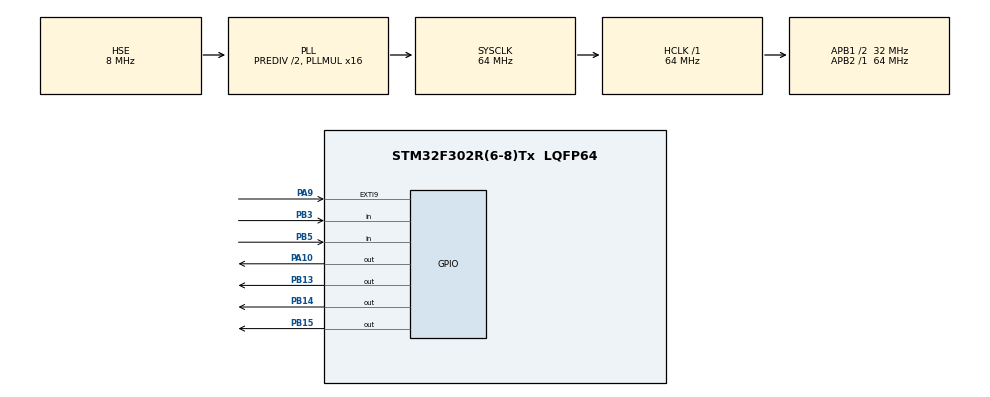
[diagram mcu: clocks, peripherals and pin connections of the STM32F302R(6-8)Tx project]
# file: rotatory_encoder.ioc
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FREERTOS.Tasks01=defaultTask,0,128,StartDefaultTask,Default,NULL,Dynamic,NULL,NULL
FREERTOS.configUSE_NEWLIB_REENTRANT=1
Mcu.Family=STM32F3
Mcu.Name=STM32F302R(6-8)Tx
Mcu.Package=LQFP64
NVIC.PriorityGroup=NVIC_PRIORITYGROUP_4
NVIC.TIM6_DAC_IRQn=true\:15\:0\:false\:false\:true\:false\:false\:true\:true
NVIC.TimeBase=TIM6_DAC_IRQn
NVIC.TimeBaseIP=TIM6
PA10.Signal=GPIO_Output
PA13.Mode=Serial_Wire
PA13.Signal=SYS_JTMS-SWDIO
PA14.Mode=Serial_Wire
PA14.Signal=SYS_JTCK-SWCLK
PA9.Signal=GPXTI9
PB13.Signal=GPIO_Output
PB14.Signal=GPIO_Output
PB15.Signal=GPIO_Output
PB3.Signal=GPIO_Input
PB5.Signal=GPIO_Input
PF0-OSC_IN.Mode=HSE-External-Oscillator
PF0-OSC_IN.Signal=RCC_OSC_IN
PF1-OSC_OUT.Mode=HSE-External-Oscillator
PF1-OSC_OUT.Signal=RCC_OSC_OUT
ProjectManager.HeapSize=0x200
ProjectManager.StackSize=0x400
ProjectManager.TargetToolchain=STM32CubeIDE
RCC.AHBFreq_Value=64000000
RCC.APB1CLKDivider=RCC_HCLK_DIV2
RCC.APB1Freq_Value=32000000
RCC.APB1TimFreq_Value=64000000
RCC.APB2Freq_Value=64000000
RCC.APB2TimFreq_Value=64000000
RCC.CortexFreq_Value=64000000
RCC.HCLKFreq_Value=64000000
RCC.HSE_VALUE=8000000
RCC.HSI_VALUE=8000000
RCC.PLLM=8
RCC.PLLMUL=RCC_PLL_MUL16
RCC.PLLN=336
RCC.PLLP=RCC_PLLP_DIV4
RCC.PLLQ=7
RCC.PLLSourceVirtual=RCC_PLLSOURCE_HSE
RCC.RCC_PLLsource_Clock_Source_FROM_HSE=RCC_HSE_PREDIV_DIV2
RCC.SYSCLKFreq_VALUE=64000000
RCC.SYSCLKSourceVirtual=RCC_SYSCLKSOURCE_PLLCLK
RCC.USBFreq_Value=64000000
VP_FREERTOS_VS_CMSIS_V1.Mode=CMSIS_V1
VP_SYS_VS_tim6.Mode=TIM6
board=NUCLEO-F302R8

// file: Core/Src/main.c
/* USER CODE BEGIN Header */
/**
  ******************************************************************************
  * @file           : main.c
  * @brief          : Main program body
  ******************************************************************************
  * @attention
  *
  * Copyright (c) 2024 STMicroelectronics.
  * All rights reserved.
  *
  * This software is licensed under terms that can be found in the LICENSE file
  * in the root directory of this software component.
  * If no LICENSE file comes with this software, it is provided AS-IS.
  *
  ******************************************************************************
  */
/* USER CODE END Header */
#include "main.h"
//#include "cmsis_os.h"

/* USER CODE BEGIN Includes */
#include "FreeRTOS.h"
#include "task.h"
#include "timers.h"
#include "queue.h"
#include "semphr.h"
#include "event_groups.h"

#include "stdlib.h"
#include "string.h"
/* USER CODE END Includes */

//osThreadId defaultTaskHandle;

void SystemClock_Config(void);
static void MX_GPIO_Init(void);
//void StartDefaultTask(void const * argument);

/* USER CODE BEGIN 0 */
TaskHandle_t encoder_handle;
void encoder_task(void *pvParameters);

TaskHandle_t led_handler;
void led_task(void *pvParamters);

volatile uint8_t count=0;
volatile uint8_t pin_last=0;
volatile uint8_t aval=0;
volatile uint8_t flag=0;
volatile uint8_t button;
/* USER CODE END 0 */

int main(void)
{

  /* MCU Configuration--------------------------------------------------------*/

  /* Reset of all peripherals, Initializes the Flash interface and the Systick. */
  HAL_Init();

  /* Configure the system clock */
  SystemClock_Config();

  /* Initialize all configured peripherals */
  MX_GPIO_Init();
  /* USER CODE BEGIN 2 */
xTaskCreate(encoder_task, "encoder", 128, NULL, 3, &encoder_handle);
xTaskCreate(led_task, "led", 128, NULL, 2, &led_handler);

vTaskStartScheduler();
  /* USER CODE END 2 */

  /* Create the thread(s) */
  /* definition and creation of defaultTask */

  /* Start scheduler */

  /* We should never get here as control is now taken by the scheduler */

  /* Infinite loop */
  while (1)
  {

  }
}

void SystemClock_Config(void)
{
  RCC_OscInitTypeDef RCC_OscInitStruct = {0};
  RCC_ClkInitTypeDef RCC_ClkInitStruct = {0};

  /** Initializes the RCC Oscillators according to the specified parameters
  * in the RCC_OscInitTypeDef structure.
  */
  RCC_OscInitStruct.OscillatorType = RCC_OSCILLATORTYPE_HSE;
  RCC_OscInitStruct.HSEState = RCC_HSE_ON;
  RCC_OscInitStruct.HSEPredivValue = RCC_HSE_PREDIV_DIV2;
  RCC_OscInitStruct.HSIState = RCC_HSI_ON;
  RCC_OscInitStruct.PLL.PLLState = RCC_PLL_ON;
  RCC_OscInitStruct.PLL.PLLSource = RCC_PLLSOURCE_HSE;
  RCC_OscInitStruct.PLL.PLLMUL = RCC_PLL_MUL16;
  if (HAL_RCC_OscConfig(&RCC_OscInitStruct) != HAL_OK)
  {
    Error_Handler();
  }

  /** Initializes the CPU, AHB and APB buses clocks
  */
  RCC_ClkInitStruct.ClockType = RCC_CLOCKTYPE_HCLK|RCC_CLOCKTYPE_SYSCLK
                              |RCC_CLOCKTYPE_PCLK1|RCC_CLOCKTYPE_PCLK2;
  RCC_ClkInitStruct.SYSCLKSource = RCC_SYSCLKSOURCE_PLLCLK;
  RCC_ClkInitStruct.AHBCLKDivider = RCC_SYSCLK_DIV1;
  RCC_ClkInitStruct.APB1CLKDivider = RCC_HCLK_DIV2;
  RCC_ClkInitStruct.APB2CLKDivider = RCC_HCLK_DIV1;

  if (HAL_RCC_ClockConfig(&RCC_ClkInitStruct, FLASH_LATENCY_2) != HAL_OK)
  {
    Error_Handler();
  }
}

static void MX_GPIO_Init(void)
{
  GPIO_InitTypeDef GPIO_InitStruct = {0};

  /* GPIO Ports Clock Enable */
  __HAL_RCC_GPIOF_CLK_ENABLE();
  __HAL_RCC_GPIOB_CLK_ENABLE();
  __HAL_RCC_GPIOA_CLK_ENABLE();

  /*Configure GPIO pin Output Level */
  HAL_GPIO_WritePin(GPIOB, GPIO_PIN_13|GPIO_PIN_14|GPIO_PIN_15, GPIO_PIN_RESET);

  /*Configure GPIO pin Output Level */
  HAL_GPIO_WritePin(GPIOA, GPIO_PIN_10, GPIO_PIN_RESET);

  /*Configure GPIO pins : PB13 PB14 PB15 */
  GPIO_InitStruct.Pin = GPIO_PIN_13|GPIO_PIN_14|GPIO_PIN_15;
  GPIO_InitStruct.Mode = GPIO_MODE_OUTPUT_PP;
  GPIO_InitStruct.Pull = GPIO_NOPULL;
  GPIO_InitStruct.Speed = GPIO_SPEED_FREQ_LOW;
  HAL_GPIO_Init(GPIOB, &GPIO_InitStruct);

  /*Configure GPIO pin : PA9 */
  GPIO_InitStruct.Pin = GPIO_PIN_9;
  GPIO_InitStruct.Mode = GPIO_MODE_IT_RISING;
  GPIO_InitStruct.Pull = GPIO_NOPULL;
  HAL_GPIO_Init(GPIOA, &GPIO_InitStruct);

  /*Configure GPIO pin : PA10 */
  GPIO_InitStruct.Pin = GPIO_PIN_10;
  GPIO_InitStruct.Mode = GPIO_MODE_OUTPUT_PP;
  GPIO_InitStruct.Pull = GPIO_NOPULL;
  GPIO_InitStruct.Speed = GPIO_SPEED_FREQ_LOW;
  HAL_GPIO_Init(GPIOA, &GPIO_InitStruct);

  /*Configure GPIO pins : PB3 PB5 */
  GPIO_InitStruct.Pin = GPIO_PIN_3|GPIO_PIN_5;
  GPIO_InitStruct.Mode = GPIO_MODE_INPUT;
  GPIO_InitStruct.Pull = GPIO_NOPULL;
  HAL_GPIO_Init(GPIOB, &GPIO_InitStruct);

}

/* USER CODE BEGIN 4 */
void encoder_task(void *pvparameters)
{
	pin_last=HAL_GPIO_ReadPin(GPIOB, GPIO_PIN_3);
	while(1)
	{
		aval=HAL_GPIO_ReadPin(GPIOB, GPIO_PIN_3);
		if(aval!=pin_last)
		{
			if(HAL_GPIO_ReadPin(GPIOB, GPIO_PIN_5)!=aval)
			{
				count++;
			}
			else
			{
				count--;
			}
		}
		  if(count>10)
		  {
			  count=10;
		  }
		  if(count<0)
		  {
			  count=0;
		  }
		  pin_last=aval;
		vTaskDelay(pdMS_TO_TICKS(1));
	}
}

void led_task(void *pvParamters)
{
BaseType_t time=xTaskGetTickCount();
	while(1)
	{
		if((xTaskGetTickCount()-time)>200)
		{
		HAL_GPIO_TogglePin(GPIOB, GPIO_PIN_13);
		time=xTaskGetTickCount();
		}
		vTaskDelay(pdMS_TO_TICKS(1));
	}
}
/* USER CODE END 4 */

void HAL_TIM_PeriodElapsedCallback(TIM_HandleTypeDef *htim)
{
  if (htim->Instance == TIM6) {
    HAL_IncTick();
  }
}

void Error_Handler(void)
{
  __disable_irq();
  while (1)
  {
  }
}
